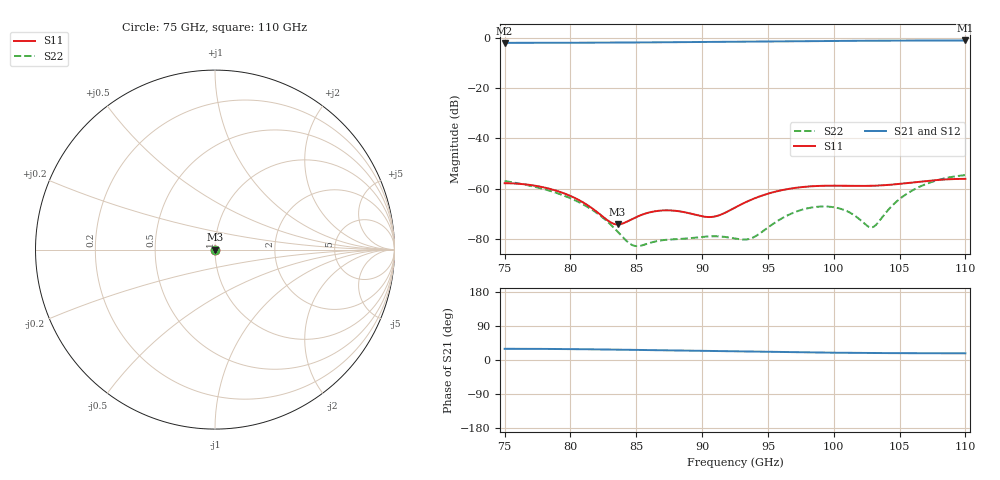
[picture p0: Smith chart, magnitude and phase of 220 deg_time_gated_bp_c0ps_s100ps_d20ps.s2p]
# Hz S RI R 50.000000
! Metas.Vna.Tools, 2.4.7724.19584
! Metas.Vna.Data, 2.4.7724.19560
! Created: UTC 2021.04.29 12:40:11
! FREQ  re:S1,1  im:S1,1  re:S2,1  im:S2,1  re:S1,2  im:S1,2  re:S2,2  im:S2,2
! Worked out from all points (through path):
!   1401 points, 75 GHz to 110 GHz, reference 50 ohm
!   highest |S21| = -1.11 dB at 110 GHz (marker M1); lowest = -2.1 dB at 75 GHz (marker M2)
!   lowest |S11| = -74.2 dB at 83.58 GHz (marker M3), VSWR 1.00, Z = 50 + j0.00456 ohm
!   |S11| at or under -10 dB: start of sweep to end of sweep
!   |S22| runs from -82.8 to -54.6 dB; largest |S21 - S12| = 0.048
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7.5e10  -0.000239 -0.00126  0.6865 0.3892  0.6795 0.4077  -0.0014 -0.000262
7.8175e10  -0.000254 -0.001  0.6899 0.3859  0.683 0.4043  -0.000911 0.000269
8.085e10  -0.000256 -0.000493  0.6979 0.3785  0.6912 0.3963  -0.000393 0.000319
8.2275e10  -0.000233 -0.000196  0.7038 0.373  0.6974 0.3902  -0.000166 0.000239
8.3575e10  -0.000189 4.56e-05  0.7102 0.3673  0.704 0.3837  -2.02e-05 0.00014
8.4225e10  -0.000159 0.000148  0.7136 0.3642  0.7076 0.38  2.8e-05 8.94e-05
8.6675e10  -3.66e-06 0.000364  0.728 0.3513  0.7231 0.3645  7.2e-05 -5.74e-05
8.805e10  9.91e-05 0.000348  0.7369 0.3437  0.7327 0.3547  3.02e-05 -9.48e-05
9.0625e10  0.000265 6.79e-05  0.7543 0.3289  0.7521 0.3347  -5.64e-05 -9.8e-05
9.25e10  0.000318 -0.000276  0.7672 0.3184  0.7668 0.3193  -4.48e-05 -9.17e-05
9.3775e10  0.000303 -0.00053  0.7758 0.3116  0.7769 0.3086  1.6e-05 -0.000103
9.64e10  0.000126 -0.000964  0.7928 0.2986  0.7971 0.2868  0.000226 -0.000177
9.835e10  -0.000122 -0.00111  0.8042 0.2902  0.8111 0.2714  0.000348 -0.000243
9.955e10  -0.00031 -0.0011  0.8107 0.2857  0.819 0.2626  0.000353 -0.000264
1.0065e11  -0.000496 -0.00103  0.8161 0.2819  0.8258 0.255  0.000291 -0.000259
1.02825e11  -0.000869 -0.00074  0.8253 0.2757  0.8375 0.2418  -4.77e-05 -0.000163
1.03225e11  -0.000935 -0.000671  0.8267 0.2748  0.8394 0.2397  -0.000139 -0.000134
1.04175e11  -0.00108 -0.000497  0.8299 0.2727  0.8435 0.2351  -0.000385 -5.26e-05
1.05275e11  -0.00123 -0.000293  0.833 0.2707  0.8475 0.2305  -0.000705 5.35e-05
1.06625e11  -0.00139 -6.48e-05  0.8359 0.2689  0.8513 0.2261  -0.00111 0.000182
1.08225e11  -0.00151 0.000132  0.8381 0.2675  0.8543 0.2227  -0.00153 0.000295
1.1e11  -0.00155 0.000214  0.839 0.2669  0.8554 0.2214  -0.00183 0.00032
